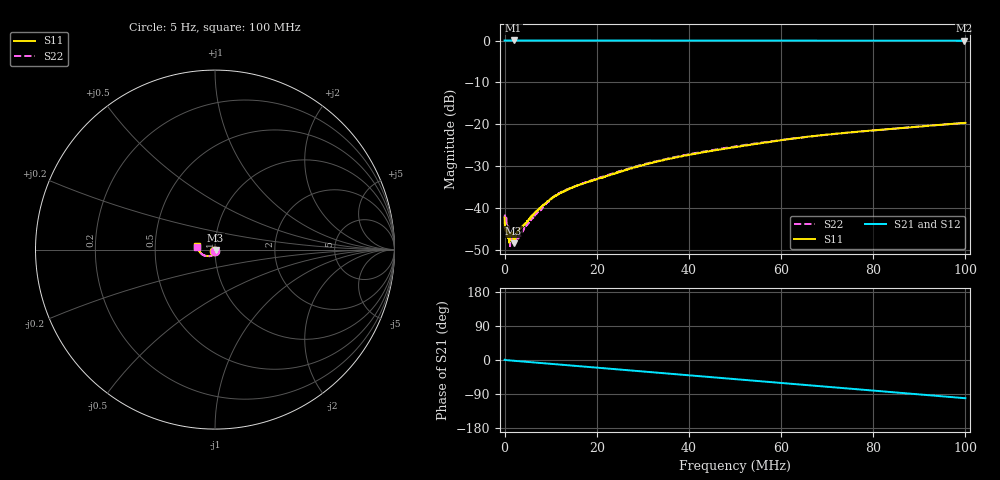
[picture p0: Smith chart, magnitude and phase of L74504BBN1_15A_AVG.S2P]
!Agilent Technologies,E5061B,MY49102235,A.02.00
!Date: Tue Jul 11 15:04:31 2023
!Data & Calibration Information:
!Freq	S11:SOLT2(ON)	S21:SOLT2(ON)	S12:SOLT2(ON)	S22:SOLT2(ON)
# Hz S RI R 50
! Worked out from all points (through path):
!   1600 points, 5 Hz to 100 MHz, reference 50 ohm
!   highest |S21| = 0.02 dB at 1.939 MHz (marker M1); lowest = 0.0 dB at 99.75 MHz (marker M2)
!   group delay of S21, straight-line fit = 2.8 ns
!   lowest |S11| = -48.4 dB at 1.939 MHz (marker M3), VSWR 1.01, Z = 50.3 - j0.213 ohm
!   |S11| at or under -10 dB: start of sweep to end of sweep
!   |S22| runs from -49.1 to -19.7 dB; largest |S21 - S12| = 0.0026
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5  -0.00523 -0.00565  1.001 0.00799  1 0.0102  -0.00154 -0.00755
437778.6  0.00513 -0.000547  1.001 -0.00541  1.001 -0.00616  0.00662 -0.00218
625395.8  0.00507 -0.000575  1.002 -0.0105  1.002 -0.0101  0.00611 -0.000963
938091.3  0.00435 -0.000318  1.001 -0.0151  1.001 -0.0148  0.00592 -0.000876
1500943  0.00438 -0.00234  1.001 -0.025  1.002 -0.025  0.00304 -0.00351
1938717  0.00315 -0.00212  1.002 -0.0338  1.001 -0.0333  0.00343 -0.00186
2376490  0.00333 -0.00273  0.9998 -0.0415  1 -0.0418  0.00396 -0.0024
3252037  0.00426 -0.00384  0.9994 -0.057  0.9992 -0.0569  0.00317 -0.00332
6003757  0.0034 -0.0072  0.9954 -0.1053  0.9955 -0.1051  0.00294 -0.00702
9505946  0.00163 -0.012  0.987 -0.1667  0.9871 -0.1665  0.001 -0.012
1.156974e7  0.000209 -0.0147  0.9805 -0.2023  0.9802 -0.2021  -0.000704 -0.0148
1.669794e7  -0.00339 -0.019  0.9576 -0.2899  0.9575 -0.2896  -0.0038 -0.0191
2.582865e7  -0.00997 -0.026  0.899 -0.4395  0.8988 -0.4394  -0.00795 -0.0273
3.333334e7  -0.018 -0.0314  0.8327 -0.5541  0.8326 -0.5538  -0.0168 -0.0325
4.033771e7  -0.0264 -0.0347  0.758 -0.652  0.758 -0.6517  -0.0262 -0.0358
5.003127e7  -0.0393 -0.036  0.6359 -0.7713  0.6358 -0.771  -0.0396 -0.0372
6.672921e7  -0.0657 -0.03  0.3844 -0.9212  0.3847 -0.9212  -0.0649 -0.0306
7.53596e7  -0.0776 -0.0211  0.2406 -0.968  0.2407 -0.9679  -0.077 -0.0224
8.33646e7  -0.087 -0.0096  0.1023 -0.9917  0.1022 -0.9918  -0.0866 -0.0121
9.161976e7  -0.0955 0.00426  -0.0427 -0.9951  -0.0427 -0.9952  -0.0954 0.000597
9.974984e7  -0.102 0.0194  -0.1838 -0.9779  -0.1836 -0.9781  -0.1021 0.016
1e8  -0.1021 0.0199  -0.1881 -0.9772  -0.188 -0.9774  -0.1024 0.0166
